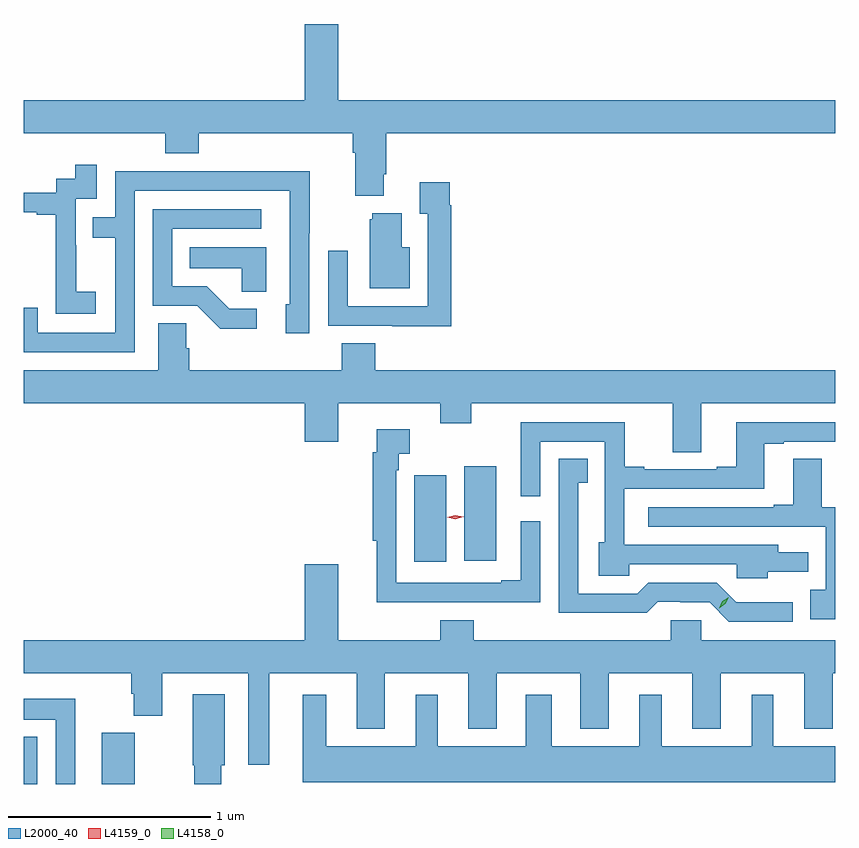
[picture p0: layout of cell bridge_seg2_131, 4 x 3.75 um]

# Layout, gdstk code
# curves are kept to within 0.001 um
import gdstk
lib = gdstk.Library(unit=1e-6, precision=1e-09)
def R(c, l, rs):  # rectangles x0, y0, x1, y1
    for r in rs: c.add(gdstk.rectangle(r[:2], r[2:], *l))
def P(c, l, *ps):  # polygons
    for p in ps: c.add(gdstk.Polygon(p, *l))
L2000_40 = (2000, 40)
L4158_0 = (4158, 0)
L4159_0 = (4159, 0)

bridge_seg2_131 = lib.new_cell('bridge_seg2_131')
R(bridge_seg2_131, L2000_40, [(379.407,588.483,379.473,588.715), (379.79,588.483,379.954,588.735), (381.332,589.578,381.49,590.005), (381.578,589.583,381.736,590.05)])
P(bridge_seg2_131, L2000_40, [(381.181,591.49),(381.194,591.49),(381.194,591.692),(383.407,591.692),(383.407,591.856),(380.956,591.856),(380.956,592.231),(380.792,592.231),(380.792,591.856),(379.407,591.856),(379.407,591.692),(380.105,591.692),(380.105,591.593),(380.27,591.593),(380.27,591.692),(381.029,591.692),(381.029,591.596),(381.041,591.596),(381.041,591.383),(381.181,591.383)],
  [(379.762,590.911),(379.664,590.911),(379.664,591.14),(379.662,591.14),(379.662,591.369),(379.767,591.369),(379.767,591.538),(379.659,591.538),(379.659,591.468),(379.566,591.468),(379.566,591.399),(379.407,591.399),(379.407,591.303),(379.469,591.303),(379.469,591.291),(379.565,591.291),(379.565,591.007),(379.564,591.007),(379.564,590.801),(379.762,590.801)],
  [(379.953,591.408),(380.718,591.408),(380.718,590.85),(380.699,590.85),(380.699,590.706),(380.814,590.706),(380.814,591.199),(380.817,591.199),(380.817,591.506),(380.353,591.506),(380.353,591.504),(379.857,591.504),(379.857,591.279),(379.747,591.279),(379.747,591.178),(379.857,591.178),(379.857,590.709),(379.476,590.709),(379.476,590.832),(379.407,590.832),(379.407,590.613),(379.953,590.613)],
  [(381.515,591.338),(381.508,591.338),(381.508,591.451),(381.359,591.451),(381.359,591.295),(381.399,591.295),(381.399,590.838),(381.003,590.838),(381.003,591.112),(380.907,591.112),(380.907,590.742),(381.223,590.742),(381.223,590.741),(381.515,590.741)],
  [(380.554,590.826),(380.419,590.826),(380.308,590.937),(380.139,590.937),(380.139,591.222),(380.578,591.222),(380.578,591.318),(380.043,591.318),(380.043,590.841),(380.262,590.841),(380.375,590.729),(380.554,590.729)],
  [(381.31,591.13),(381.271,591.13),(381.271,591.298),(381.125,591.298),(381.125,591.267),(381.113,591.267),(381.113,590.927),(381.31,590.927)],
  [(380.602,591.13),(380.224,591.13),(380.224,591.026),(380.481,591.026),(380.481,590.911),(380.602,590.911)],
  [(381.14,590.657),(380.975,590.657),(380.975,590.524),(380.222,590.524),(380.222,590.633),(380.208,590.633),(380.208,590.756),(380.069,590.756),(380.069,590.524),(379.407,590.524),(379.407,590.36),(380.792,590.36),(380.792,590.172),(380.956,590.172),(380.956,590.36),(381.461,590.36),(381.461,590.261),(381.613,590.261),(381.613,590.36),(382.607,590.36),(382.607,590.119),(382.747,590.119),(382.747,590.36),(383.407,590.36),(383.407,590.524),(381.14,590.524)],
  [(383.074,589.53),(383.276,589.53),(383.276,589.626),(383.128,589.626),(383.128,589.662),(382.368,589.662),(382.368,589.938),(383.059,589.938),(383.059,590.16),(383.155,590.16),(383.155,590.172),(383.407,590.172),(383.407,590.268),(382.919,590.268),(382.919,590.047),(382.823,590.047),(382.823,590.034),(382.465,590.034),(382.465,590.047),(382.371,590.047),(382.371,590.268),(381.858,590.268),(381.858,589.902),(381.954,589.902),(381.954,590.172),(382.272,590.172),(382.272,589.941),(382.271,589.941),(382.271,589.676),(382.241,589.676),(382.241,589.51),(382.393,589.51),(382.393,589.566),(382.923,589.566),(382.923,589.497),(383.074,589.497)],
  [(381.377,589.38),(381.709,589.38),(381.709,589.379),(381.954,589.379),(381.954,589.78),(381.858,589.78),(381.858,589.489),(381.761,589.489),(381.761,589.476),(381.243,589.476),(381.243,590.03),(381.255,590.03),(381.255,590.112),(381.31,590.112),(381.31,590.233),(381.146,590.233),(381.146,590.12),(381.127,590.12),(381.127,589.683),(381.146,589.683),(381.146,589.379),(381.377,589.379)],
  [(383.199,589.38),(382.92,589.38),(382.824,589.476),(382.485,589.476),(382.431,589.422),(382.14,589.422),(382.141,589.969),(382.187,589.969),(382.187,590.087),(382.044,590.087),(382.044,589.328),(382.478,589.328),(382.533,589.383),(382.643,589.383),(382.643,589.38),(382.788,589.38),(382.884,589.284),(383.199,589.284)],
  [(383.407,589.848),(383.341,589.848),(383.341,590.087),(383.201,590.087),(383.201,589.861),(383.105,589.861),(383.105,589.848),(382.485,589.848),(382.485,589.752),(383.361,589.752),(383.361,589.441),(383.284,589.441),(383.284,589.295),(383.407,589.295)],
  [(380.617,589.028),(381.047,589.028),(381.047,588.755),(381.187,588.755),(381.187,589.028),(381.599,589.028),(381.599,588.755),(381.739,588.755),(381.739,589.028),(382.151,589.028),(382.151,588.755),(382.291,588.755),(382.291,589.028),(382.703,589.028),(382.703,588.755),(382.843,588.755),(382.843,589.028),(383.255,589.028),(383.255,588.755),(383.395,588.755),(383.395,589.028),(383.407,589.028),(383.407,589.192),(382.746,589.192),(382.746,589.29),(382.596,589.29),(382.596,589.192),(381.626,589.192),(381.626,589.291),(381.461,589.291),(381.461,589.192),(380.956,589.192),(380.956,589.567),(380.792,589.567),(380.792,589.192),(379.407,589.192),(379.407,589.028),(379.937,589.028),(379.937,588.929),(379.949,588.929),(379.949,588.82),(380.089,588.82),(380.089,589.028),(380.513,589.028),(380.513,588.579),(380.617,588.579)],
  [(380.38,588.576),(380.398,588.576),(380.398,588.925),(380.24,588.925),(380.24,588.576),(380.247,588.576),(380.247,588.483),(380.38,588.483)],
  [(383.407,588.67),(383.101,588.67),(383.101,588.922),(382.997,588.922),(382.997,588.67),(382.552,588.67),(382.552,588.922),(382.442,588.922),(382.442,588.67),(382.009,588.67),(382.009,588.922),(381.881,588.922),(381.881,588.67),(381.448,588.67),(381.448,588.922),(381.338,588.922),(381.338,588.67),(380.899,588.67),(380.899,588.922),(380.783,588.922),(380.783,588.491),(383.407,588.491)],
  [(379.66,588.904),(379.407,588.904),(379.407,588.8),(379.563,588.8),(379.563,588.483),(379.66,588.483)])
P(bridge_seg2_131, L4158_0, [(382.835,589.35),(382.835,589.35),(382.851,589.384),(382.882,589.404),(382.882,589.404),(382.882,589.404),(382.866,589.371),(382.835,589.35)])
P(bridge_seg2_131, L4159_0, [(381.534,589.789),(381.494,589.799),(381.494,589.799),(381.494,589.799),(381.534,589.809),(381.574,589.8),(381.575,589.8),(381.574,589.8)])

lib.write_gds('bridge_seg2_131.gds')
